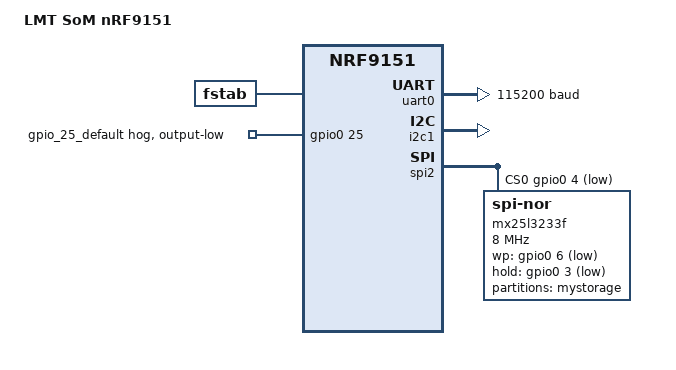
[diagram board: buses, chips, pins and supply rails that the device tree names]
/*
 * Copyright (c) 2025 Latvijas Mobilais Telefons
 * SPDX-License-Identifier: Apache-2.0
 */
 
#include "lmt_som_nrf9151_common-pinctrl.dtsi"
#include <zephyr/dt-bindings/input/input-event-codes.h>

/ {
	model = "LMT SoM nRF9151";
	compatible = "lmt,som-nrf9151";

	chosen {
		zephyr,console = &uart0;
		zephyr,shell-uart = &uart0;
		zephyr,uart-mcumgr = &uart0;
		nordic,pm-ext-flash = &mx25l3233f;
	};

	aliases {
		watchdog0 = &wdt0;
		spi-flash0 = &mx25l3233f;
	};

	fstab {
		compatible = "zephyr,fstab";

		lfs1: lfs1 {
			compatible = "zephyr,fstab,littlefs";
			mount-point = "/lfs";
			partition = <&lfs1_partition>;
			read-size = <16>;
			prog-size = <16>;
			cache-size = <64>;
			lookahead-size = <32>;
			block-cycles = <512>;
		};
	};
};

// SIM SELect
&gpio0 {
	status = "okay";
	label = "GPIO0";
	gpio_25_default: gpio_25_default {
		gpio-hog;
		gpios = <25 (GPIO_ACTIVE_HIGH)>;
		output-low;
	};
};

&gpiote {
	status = "okay";
};

&uart0 {
	status = "okay";
	current-speed = <115200>;
	pinctrl-0 = <&uart0_default>;
	pinctrl-1 = <&uart0_sleep>;
	pinctrl-names = "default", "sleep";
};

&i2c1 {
	compatible = "nordic,nrf-twim";
	status = "okay";
	pinctrl-0 = <&i2c1_default>;
	pinctrl-1 = <&i2c1_sleep>;
	pinctrl-names = "default", "sleep";
};

&spi2 {
	compatible = "nordic,nrf-spim";
	status = "okay";
	cs-gpios = < &gpio0 4 GPIO_ACTIVE_LOW >;
	pinctrl-0 = <&spi2_default>;
	pinctrl-1 = <&spi2_sleep>;
	pinctrl-names = "default", "sleep";
	mx25l3233f: mx25l3233f@0 {
		compatible = "jedec,spi-nor";
		reg = <0>;
		spi-max-frequency = <8000000>;
		wp-gpios = < &gpio0 6 GPIO_ACTIVE_LOW >;
		hold-gpios = < &gpio0 3 GPIO_ACTIVE_LOW >;
		size = <33554432>;
		has-dpd;
		t-enter-dpd = <9500>;
		t-exit-dpd = <9500>;
		jedec-id = [c2 20 16];
		label="mx25l3233f";
	};
};

&mx25l3233f {
	partitions {
		compatible = "fixed-partitions";
		#address-cells = <1>;
		#size-cells = <1>;

		lfs1_partition: partition@0 {
			label = "mystorage";
			reg = <0x00000000 0x00400000>; //bytes
		};
	};
};

&flash0 {

	partitions {
		compatible = "fixed-partitions";
		#address-cells = <1>;
		#size-cells = <1>;

		boot_partition: partition@0 {
			label = "mcuboot";
			reg = <0x00000000 0x10000>;
		};
		slot0_partition: partition@10000 {
			label = "image-0";
		};
		slot0_ns_partition: partition@50000 {
			label = "image-0-nonsecure";
		};
		slot1_partition: partition@85000 {
			label = "image-1";
		};
		slot1_ns_partition: partition@c5000 {
			label = "image-1-nonsecure";
		};
		storage_partition: partition@fa000 {
			label = "storage";
			reg = <0x000fa000 0x00006000>;
		};
	};
};

/ {

	reserved-memory {
		#address-cells = <1>;
		#size-cells = <1>;
		ranges;

		sram0_s: image_s@20000000 {
			/* Secure image memory */
		};

		sram0_modem: image_modem@20016000 {
			/* Modem (shared) memory */
		};

		sram0_ns: image_ns@20020000 {
			/* Non-Secure image memory */
		};
	};
};

/* Include partition configuration file */
#include "lmt_som_nrf9151_partition_conf.dtsi"
